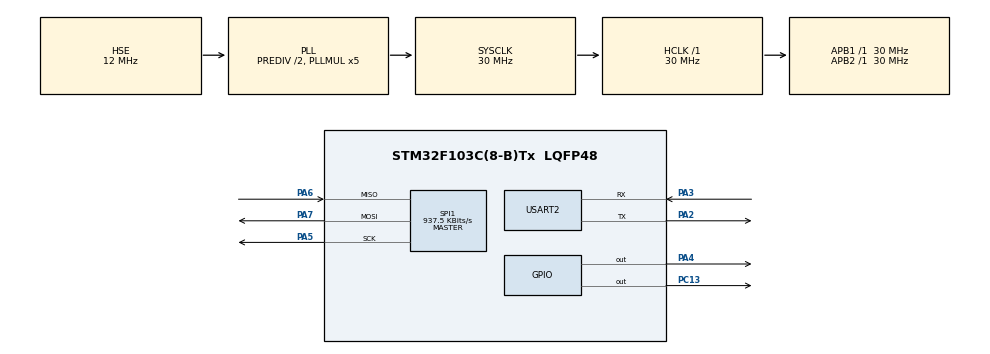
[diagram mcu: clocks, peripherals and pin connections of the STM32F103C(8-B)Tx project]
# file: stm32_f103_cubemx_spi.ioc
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Mcu.Family=STM32F1
Mcu.Name=STM32F103C(8-B)Tx
Mcu.Package=LQFP48
NVIC.PriorityGroup=NVIC_PRIORITYGROUP_4
PA13.Mode=Serial_Wire
PA13.Signal=SYS_JTMS-SWDIO
PA14.Mode=Serial_Wire
PA14.Signal=SYS_JTCK-SWCLK
PA2.Mode=Asynchronous
PA2.Signal=USART2_TX
PA3.Mode=Asynchronous
PA3.Signal=USART2_RX
PA4.Signal=GPIO_Output
PA5.Mode=Full_Duplex_Master
PA5.Signal=SPI1_SCK
PA6.Mode=Full_Duplex_Master
PA6.Signal=SPI1_MISO
PA7.Mode=Full_Duplex_Master
PA7.Signal=SPI1_MOSI
PC13-TAMPER-RTC.Signal=GPIO_Output
PD0-OSC_IN.Mode=HSE-External-Oscillator
PD0-OSC_IN.Signal=RCC_OSC_IN
PD1-OSC_OUT.Mode=HSE-External-Oscillator
PD1-OSC_OUT.Signal=RCC_OSC_OUT
ProjectManager.HeapSize=0x200
ProjectManager.StackSize=0x400
ProjectManager.TargetToolchain=STM32CubeIDE
RCC.AHBFreq_Value=30000000
RCC.APB1Freq_Value=30000000
RCC.APB1TimFreq_Value=30000000
RCC.APB2Freq_Value=30000000
RCC.APB2TimFreq_Value=30000000
RCC.HCLKFreq_Value=30000000
RCC.HSEDivPLL=RCC_HSE_PREDIV_DIV2
RCC.HSE_VALUE=12000000
RCC.PLLMUL=RCC_PLL_MUL5
RCC.PLLSourceVirtual=RCC_PLLSOURCE_HSE
RCC.SYSCLKFreq_VALUE=30000000
RCC.SYSCLKSource=RCC_SYSCLKSOURCE_PLLCLK
RCC.USBFreq_Value=30000000
SPI1.BaudRatePrescaler=SPI_BAUDRATEPRESCALER_32
SPI1.CLKPhase=SPI_PHASE_1EDGE
SPI1.CalculateBaudRate=937.5 KBits/s
SPI1.Direction=SPI_DIRECTION_2LINES
SPI1.Mode=SPI_MODE_MASTER
SPI1.VirtualType=VM_MASTER
USART2.VirtualMode=VM_ASYNC
board=custom

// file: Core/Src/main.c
/* USER CODE BEGIN Header */
/**
  ******************************************************************************
  * @file           : main.c
  * @brief          : Main program body
  ******************************************************************************
  * @attention
  *
  * <h2><center>&copy; Copyright (c) 2021 STMicroelectronics.
  * All rights reserved.</center></h2>
  *
  * This software component is licensed by ST under BSD 3-Clause license,
  * the "License"; You may not use this file except in compliance with the
  * License. You may obtain a copy of the License at:
  *                        opensource.org/licenses/BSD-3-Clause
  *
  ******************************************************************************
  */
/* USER CODE END Header */
#include "main.h"

SPI_HandleTypeDef hspi1;

UART_HandleTypeDef huart2;

void SystemClock_Config(void);
static void MX_GPIO_Init(void);
static void MX_SPI1_Init(void);
static void MX_USART2_UART_Init(void);

/* USER CODE BEGIN 0 */

uint8_t rx_buf[1025];

uint8_t dt[4];

uint8_t x = 10;
uint8_t y = 30;
uint8_t z = 0;

/* USER CODE END 0 */

int main(void)
{

  /* MCU Configuration--------------------------------------------------------*/

  /* Reset of all peripherals, Initializes the Flash interface and the Systick. */
  HAL_Init();

  /* Configure the system clock */
  SystemClock_Config();

  /* Initialize all configured peripherals */
  MX_GPIO_Init();
  MX_SPI1_Init();
  MX_USART2_UART_Init();
  /* USER CODE BEGIN 2 */

  uint8_t * tran_buff = "The STM32 H7-series is a group of high performance STM32 microcontrollers based on the ARM Cortex-M7F core with double-precision floating point unit and optional second Cortex-M4F core with single-precision floating point. Cortex-M7F core can reach working frequency up to 480 MHz, while Cortex-M4F - up to 240 MHz. Each of these cores can work independently or as master/slave core.The STM32H7 Series is the first series of STM32 microcontrollers in 40 nm process technology and the first series of ARM Cortex-M7-based microcontrollers able to run up to 480 MHz, allowing a performance boost versus previous series of Cortex-M microcontrollers, reaching new performance records of 1027 DMIPS and 2400 CoreMark. [42]";
  erase_sector4KB(read_addr1);
  if((ReadSR(ReadSR1) & BUSY_BIT) == 0x01)
  {
  erase_sector4KB(read_addr1);
  }
  //uint8_t * tran_buff = "0000/285444500/771888200/00100/255/000/010/0000/285444500/771888200/00100/255/000/010/0000/285444500/771888200/00100/255/000/010/\n";
  SystemCoreClockUpdate();

  /* USER CODE END 2 */

  /* Infinite loop */
  while (1)
  {

    /* USER CODE BEGIN 3 */
	x = ReadSR(ReadSR1);
	HAL_Delay(100);
	W25_Write_Data(read_addr1,tran_buff,13);
	HAL_Delay(100);
	W25_Read_Data(read_addr1,rx_buf,13);
	HAL_Delay(100);
	HAL_UART_Transmit(&huart2,rx_buf,131,100);
  }
  /* USER CODE END 3 */
}

void SystemClock_Config(void)
{
  RCC_OscInitTypeDef RCC_OscInitStruct = {0};
  RCC_ClkInitTypeDef RCC_ClkInitStruct = {0};

  /** Initializes the RCC Oscillators according to the specified parameters
  * in the RCC_OscInitTypeDef structure.
  */
  RCC_OscInitStruct.OscillatorType = RCC_OSCILLATORTYPE_HSE;
  RCC_OscInitStruct.HSEState = RCC_HSE_ON;
  RCC_OscInitStruct.HSEPredivValue = RCC_HSE_PREDIV_DIV2;
  RCC_OscInitStruct.HSIState = RCC_HSI_ON;
  RCC_OscInitStruct.PLL.PLLState = RCC_PLL_ON;
  RCC_OscInitStruct.PLL.PLLSource = RCC_PLLSOURCE_HSE;
  RCC_OscInitStruct.PLL.PLLMUL = RCC_PLL_MUL5;
  if (HAL_RCC_OscConfig(&RCC_OscInitStruct) != HAL_OK)
  {
    Error_Handler();
  }
  /** Initializes the CPU, AHB and APB buses clocks
  */
  RCC_ClkInitStruct.ClockType = RCC_CLOCKTYPE_HCLK|RCC_CLOCKTYPE_SYSCLK
                              |RCC_CLOCKTYPE_PCLK1|RCC_CLOCKTYPE_PCLK2;
  RCC_ClkInitStruct.SYSCLKSource = RCC_SYSCLKSOURCE_PLLCLK;
  RCC_ClkInitStruct.AHBCLKDivider = RCC_SYSCLK_DIV1;
  RCC_ClkInitStruct.APB1CLKDivider = RCC_HCLK_DIV1;
  RCC_ClkInitStruct.APB2CLKDivider = RCC_HCLK_DIV1;

  if (HAL_RCC_ClockConfig(&RCC_ClkInitStruct, FLASH_LATENCY_1) != HAL_OK)
  {
    Error_Handler();
  }
}

static void MX_SPI1_Init(void)
{

  /* SPI1 parameter configuration*/
  hspi1.Instance = SPI1;
  hspi1.Init.Mode = SPI_MODE_MASTER;
  hspi1.Init.Direction = SPI_DIRECTION_2LINES;
  hspi1.Init.DataSize = SPI_DATASIZE_8BIT;
  hspi1.Init.CLKPolarity = SPI_POLARITY_LOW;
  hspi1.Init.CLKPhase = SPI_PHASE_1EDGE;
  hspi1.Init.NSS = SPI_NSS_SOFT;
  hspi1.Init.BaudRatePrescaler = SPI_BAUDRATEPRESCALER_32;
  hspi1.Init.FirstBit = SPI_FIRSTBIT_MSB;
  hspi1.Init.TIMode = SPI_TIMODE_DISABLE;
  hspi1.Init.CRCCalculation = SPI_CRCCALCULATION_DISABLE;
  hspi1.Init.CRCPolynomial = 10;
  if (HAL_SPI_Init(&hspi1) != HAL_OK)
  {
    Error_Handler();
  }

}

static void MX_USART2_UART_Init(void)
{

  huart2.Instance = USART2;
  huart2.Init.BaudRate = 115200;
  huart2.Init.WordLength = UART_WORDLENGTH_8B;
  huart2.Init.StopBits = UART_STOPBITS_1;
  huart2.Init.Parity = UART_PARITY_NONE;
  huart2.Init.Mode = UART_MODE_TX_RX;
  huart2.Init.HwFlowCtl = UART_HWCONTROL_NONE;
  huart2.Init.OverSampling = UART_OVERSAMPLING_16;
  if (HAL_UART_Init(&huart2) != HAL_OK)
  {
    Error_Handler();
  }

}

static void MX_GPIO_Init(void)
{
  GPIO_InitTypeDef GPIO_InitStruct = {0};

  /* GPIO Ports Clock Enable */
  __HAL_RCC_GPIOC_CLK_ENABLE();
  __HAL_RCC_GPIOD_CLK_ENABLE();
  __HAL_RCC_GPIOA_CLK_ENABLE();

  /*Configure GPIO pin Output Level */
  HAL_GPIO_WritePin(GPIOC, GPIO_PIN_13, GPIO_PIN_RESET);

  /*Configure GPIO pin Output Level */
  HAL_GPIO_WritePin(GPIOA, GPIO_PIN_4, GPIO_PIN_RESET);

  /*Configure GPIO pin : PC13 */
  GPIO_InitStruct.Pin = GPIO_PIN_13;
  GPIO_InitStruct.Mode = GPIO_MODE_OUTPUT_PP;
  GPIO_InitStruct.Pull = GPIO_NOPULL;
  GPIO_InitStruct.Speed = GPIO_SPEED_FREQ_LOW;
  HAL_GPIO_Init(GPIOC, &GPIO_InitStruct);

  /*Configure GPIO pin : PA4 */
  GPIO_InitStruct.Pin = GPIO_PIN_4;
  GPIO_InitStruct.Mode = GPIO_MODE_OUTPUT_PP;
  GPIO_InitStruct.Pull = GPIO_NOPULL;
  GPIO_InitStruct.Speed = GPIO_SPEED_FREQ_LOW;
  HAL_GPIO_Init(GPIOA, &GPIO_InitStruct);

}

void Error_Handler(void)
{
  __disable_irq();
  while (1)
  {
  }
}

/************************ (C) COPYRIGHT STMicroelectronics *****END OF FILE****/
